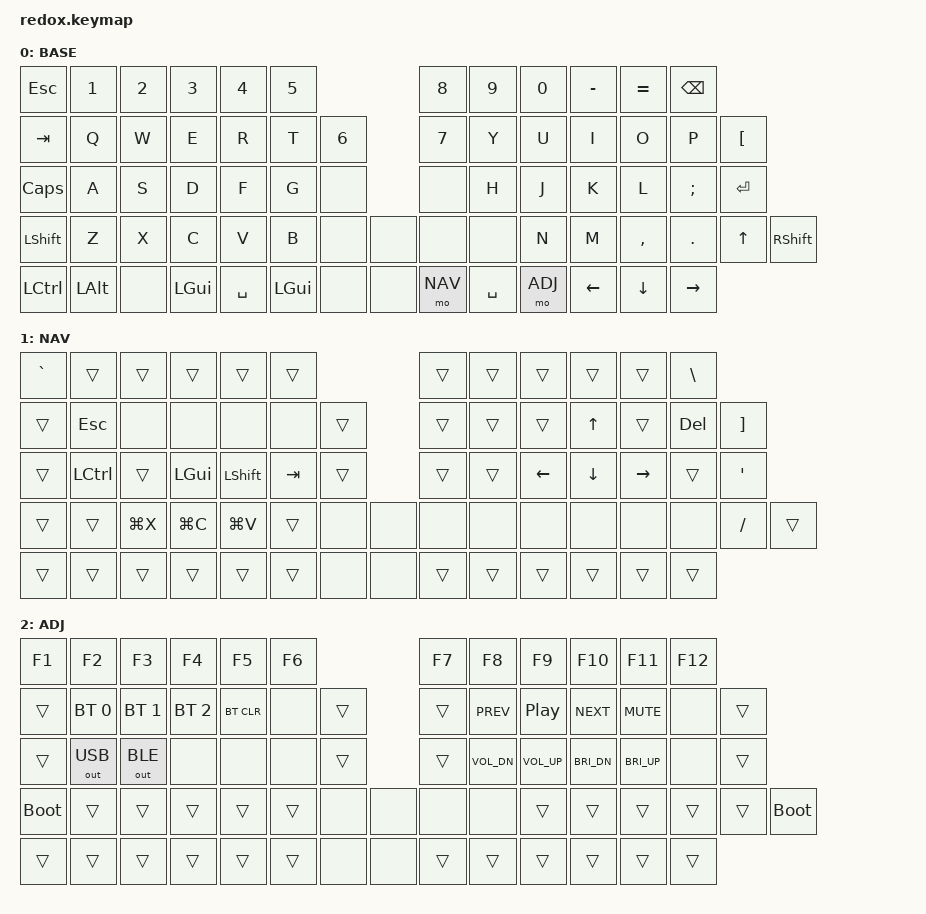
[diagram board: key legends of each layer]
// REDOX — BASE jak najbliżej klawiatury Alice (najpierw przesiadka z Alice, potem ulepszenia).
// Warstwy: NAV (64) i ADJ/Fn (59). Bez SYM — jak na Alice.
//
// Zasady:
//  - BASE = jak Alice: rząd cyfr 1-5 | 6 (18) | 7 8 9 0 - = ⌫ (19, 6-11), BSPC prawy górny róg, ENTER i SHIFT pod
//    prawym małym palcem, spacja na szerokich klawiszach kciuków (60, 65), CMD na 61 i 59,
//    strzałki w odwróconym T w prawym dolnym rogu (54 ↑, 67 ←, 68 ↓, 69 →).
//  - NAV (przytrzymaj 64, prawy kciuk): strzałki na I J K L, Ctrl/Cmd/Shift pod lewą ręką,
//    wytnij/kopiuj/wklej na dolnym rzędzie, oraz znaki bez miejsca w BASE:
//    ` (0), \ (11), ] (25), ' (39), / (54).
//  - Option (Opt) tylko w BASE (57) — do polskich znaków na Macu.
//  - ADJ (Fn): przytrzymaj FN (66, pod przecinkiem). Bluetooth, media, F1-F12, BOOT: 40 = lewa połówka, 55 = prawa.
//
//  - Wyłączone: 46 47 48 49 62 63 (za daleko dla kciuka), 32 33 w BASE.
//
// Kolejność klawiszy w bindings (70): rząd cyfr 12, potem 14, 14, 16, 14.

#include <behaviors.dtsi>
#include <dt-bindings/zmk/keys.h>
#include <dt-bindings/zmk/bt.h>
#include <dt-bindings/zmk/outputs.h>

#define BASE 0
#define NAV  1
#define ADJ  2

/ {
    keymap {
        compatible = "zmk,keymap";

        base_layer {
            display-name = "BASE";
// Obrazek z numerami klawiszy: redox-layout.png (generowany z tego pliku).
            bindings = <
   &kp ESC      &kp N1       &kp N2       &kp N3       &kp N4       &kp N5                                 &kp N8       &kp N9       &kp N0       &kp MINUS    &kp EQUAL    &kp BSPC
   &kp TAB      &kp Q        &kp W        &kp E        &kp R        &kp T        &kp N6                    &kp N7       &kp Y        &kp U        &kp I        &kp O        &kp P        &kp LBKT
   &kp CAPS     &kp A        &kp S        &kp D        &kp F        &kp G        &none                     &none        &kp H        &kp J        &kp K        &kp L        &kp SEMI     &kp RET
   &kp LSHFT    &kp Z        &kp X        &kp C        &kp V        &kp B        &none        &none        &none        &none        &kp N        &kp M        &kp COMMA    &kp DOT      &kp UP       &kp RSHFT
   &kp LCTRL    &kp LALT     &none        &kp LGUI     &kp SPACE    &kp LGUI     &none        &none        &mo NAV      &kp SPACE    &mo ADJ      &kp LEFT     &kp DOWN     &kp RIGHT
            >;
        };

        nav_layer {
            display-name = "NAV";
            bindings = <
   &kp GRAVE    &trans       &trans       &trans       &trans       &trans                                 &trans       &trans       &trans       &trans       &trans       &kp BSLH
   &trans       &kp ESC      &none        &none        &none        &none        &trans                    &trans       &trans       &trans       &kp UP       &trans       &kp DEL      &kp RBKT
   &trans       &kp LCTRL    &trans       &kp LGUI     &kp LSHFT    &kp TAB      &trans                    &trans       &trans       &kp LEFT     &kp DOWN     &kp RIGHT    &trans       &kp SQT
   &trans       &trans       &kp LG(X)    &kp LG(C)    &kp LG(V)    &trans       &none        &none        &none        &none        &none        &none        &none        &none        &kp FSLH     &trans
   &trans       &trans       &trans       &trans       &trans       &trans       &none        &none        &trans       &trans       &trans       &trans       &trans       &trans
            >;
        };


        adjust_layer {
            display-name = "ADJ";
            bindings = <
   &kp F1       &kp F2       &kp F3       &kp F4       &kp F5       &kp F6                                 &kp F7       &kp F8       &kp F9       &kp F10      &kp F11      &kp F12
   &trans       &bt BT_SEL 0 &bt BT_SEL 1 &bt BT_SEL 2 &bt BT_CLR   &none        &trans                    &trans       &kp C_PREV   &kp C_PP     &kp C_NEXT   &kp C_MUTE   &none        &trans
   &trans       &out OUT_USB &out OUT_BLE &none        &none        &none        &trans                    &trans       &kp C_VOL_DN &kp C_VOL_UP &kp C_BRI_DN &kp C_BRI_UP &none        &trans
   &bootloader  &trans       &trans       &trans       &trans       &trans       &none        &none        &none        &none        &trans       &trans       &trans       &trans       &trans       &bootloader
   &trans       &trans       &trans       &trans       &trans       &trans       &none        &none        &trans       &trans       &trans       &trans       &trans       &trans
            >;
        };
    };
};
